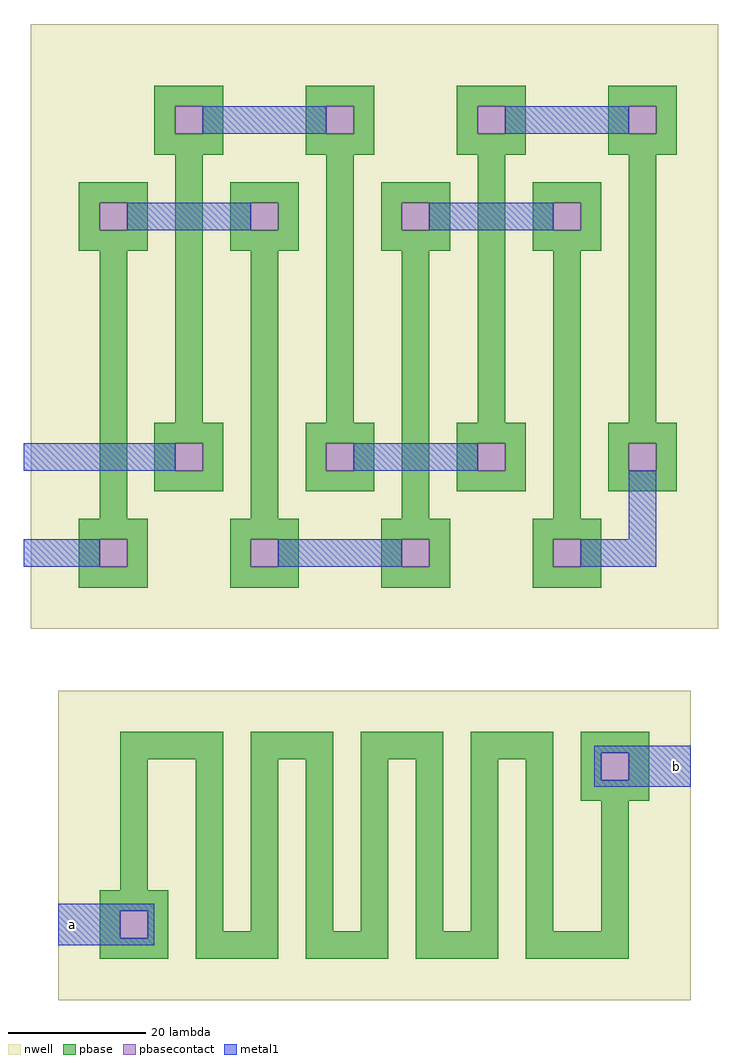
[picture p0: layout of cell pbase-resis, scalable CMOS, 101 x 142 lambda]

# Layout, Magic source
magic
tech scmos
<< nwell >>
rect -4 52 96 140
rect 0 -2 92 43
<< metal1 >>
rect 21 124 39 128
rect 65 124 83 128
rect 10 110 28 114
rect 54 110 72 114
rect -5 75 17 79
rect 43 75 61 79
rect 83 65 87 75
rect -5 61 6 65
rect 32 61 50 65
rect 76 61 87 65
rect 78 34 92 35
rect 78 30 79 34
rect 83 30 92 34
rect 78 29 92 30
rect 0 11 14 12
rect 0 7 9 11
rect 13 7 14 11
rect 0 6 14 7
<< pbase >>
rect 14 128 24 131
rect 14 124 17 128
rect 21 124 24 128
rect 14 121 24 124
rect 36 128 46 131
rect 36 124 39 128
rect 43 124 46 128
rect 36 121 46 124
rect 58 128 68 131
rect 58 124 61 128
rect 65 124 68 128
rect 58 121 68 124
rect 80 128 90 131
rect 80 124 83 128
rect 87 124 90 128
rect 80 121 90 124
rect 3 114 13 117
rect 3 110 6 114
rect 10 110 13 114
rect 3 107 13 110
rect 6 68 10 107
rect 17 82 21 121
rect 25 114 35 117
rect 25 110 28 114
rect 32 110 35 114
rect 25 107 35 110
rect 14 79 24 82
rect 14 75 17 79
rect 21 75 24 79
rect 14 72 24 75
rect 28 68 32 107
rect 39 82 43 121
rect 47 114 57 117
rect 47 110 50 114
rect 54 110 57 114
rect 47 107 57 110
rect 36 79 46 82
rect 36 75 39 79
rect 43 75 46 79
rect 36 72 46 75
rect 50 68 54 107
rect 61 82 65 121
rect 69 114 79 117
rect 69 110 72 114
rect 76 110 79 114
rect 69 107 79 110
rect 58 79 68 82
rect 58 75 61 79
rect 65 75 68 79
rect 58 72 68 75
rect 72 68 76 107
rect 83 82 87 121
rect 80 79 90 82
rect 80 75 83 79
rect 87 75 90 79
rect 80 72 90 75
rect 3 65 13 68
rect 3 61 6 65
rect 10 61 13 65
rect 3 58 13 61
rect 25 65 35 68
rect 25 61 28 65
rect 32 61 35 65
rect 25 58 35 61
rect 47 65 57 68
rect 47 61 50 65
rect 54 61 57 65
rect 47 58 57 61
rect 69 65 79 68
rect 69 61 72 65
rect 76 61 79 65
rect 69 58 79 61
rect 9 33 24 37
rect 9 14 13 33
rect 6 11 16 14
rect 6 7 9 11
rect 13 7 16 11
rect 6 4 16 7
rect 20 8 24 33
rect 28 33 40 37
rect 28 8 32 33
rect 20 4 32 8
rect 36 8 40 33
rect 44 33 56 37
rect 44 8 48 33
rect 36 4 48 8
rect 52 8 56 33
rect 60 33 72 37
rect 60 8 64 33
rect 52 4 64 8
rect 68 8 72 33
rect 76 34 86 37
rect 76 30 79 34
rect 83 30 86 34
rect 76 27 86 30
rect 79 8 83 27
rect 68 4 83 8
<< pbasecontact >>
rect 17 124 21 128
rect 39 124 43 128
rect 61 124 65 128
rect 83 124 87 128
rect 6 110 10 114
rect 28 110 32 114
rect 17 75 21 79
rect 50 110 54 114
rect 39 75 43 79
rect 72 110 76 114
rect 61 75 65 79
rect 83 75 87 79
rect 6 61 10 65
rect 28 61 32 65
rect 50 61 54 65
rect 72 61 76 65
rect 9 7 13 11
rect 79 30 83 34
<< labels >>
rlabel metal1 2 9 2 9 3 a
rlabel metal1 90 32 90 32 7 b
<< end >>
